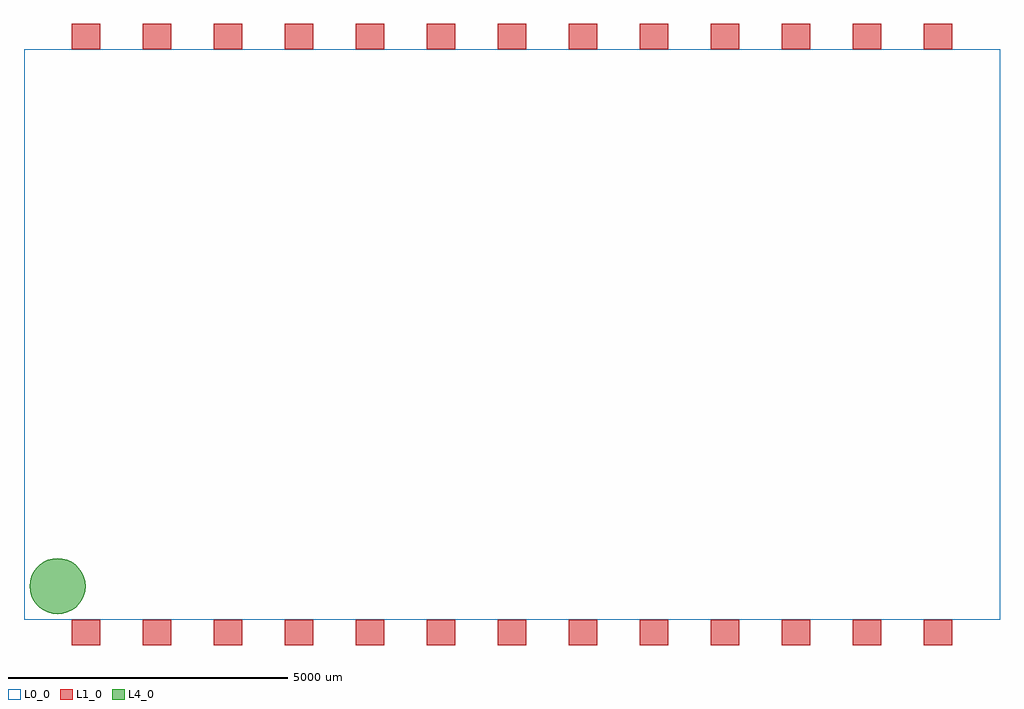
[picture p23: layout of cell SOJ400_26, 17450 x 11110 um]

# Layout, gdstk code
import gdstk
lib = gdstk.Library(unit=1e-6, precision=1e-09)
def R(c, l, rs):  # rectangles x0, y0, x1, y1
    for r in rs: c.add(gdstk.rectangle(r[:2], r[2:], *l))
def A(c, l, x, y, w, h, nx, ny, dx, dy):  # array of equal rectangles
    R(c, l, [(x+i*dx, y+j*dy, x+i*dx+w, y+j*dy+h) for i in range(nx) for j in range(ny)])
def P(c, l, *ps):  # polygons
    for p in ps: c.add(gdstk.Polygon(p, *l))
L0_0 = (0, 0)
L1_0 = (1, 0)
L4_0 = (4, 0)
L99_1 = (99, 1)
L99_2 = (99, 2)
L99_3 = (99, 3)
L99_4 = (99, 4)
L99_5 = (99, 5)
L99_6 = (99, 6)
L99_7 = (99, 7)
L99_8 = (99, 8)
L99_9 = (99, 9)
L99_10 = (99, 10)
L99_11 = (99, 11)
L99_12 = (99, 12)
L99_13 = (99, 13)
L99_14 = (99, 14)
L99_15 = (99, 15)
L99_16 = (99, 16)
L99_17 = (99, 17)
L99_18 = (99, 18)
L99_19 = (99, 19)
L99_20 = (99, 20)
L99_21 = (99, 21)
L99_22 = (99, 22)
L99_23 = (99, 23)
L99_24 = (99, 24)
L99_25 = (99, 25)
L99_26 = (99, 26)

soj400_26 = lib.new_cell('SOJ400_26')
R(soj400_26, L0_0, [(0,0,17450,10200)])
A(soj400_26, L1_0, 850, -455, 510, 455, 13, 2, 1270, 10655)
P(soj400_26, L4_0, [(1100,600),(1092.404,513.176),(1069.846,428.99),(1033.013,350),(983.022,278.606),(921.394,216.978),(850,166.987),(771.01,130.154),(686.824,107.596),(600,100),(513.176,107.596),(428.99,130.154),(350,166.987),(278.606,216.978),(216.978,278.606),(166.987,350),(130.154,428.99),(107.596,513.176),(100,600),(107.596,686.824),(130.154,771.01),(166.987,850),(216.978,921.394),(278.606,983.022),(350,1033.013),(428.99,1069.846),(513.176,1092.404),(600,1100),(686.824,1092.404),(771.01,1069.846),(850,1033.013),(921.394,983.022),(983.022,921.394),(1033.013,850),(1069.846,771.01),(1092.404,686.824)])
soj400_26.add(gdstk.FlexPath([(1360,0),(850,0)], 0, ends="round", simple_path=True, layer=99, datatype=1))  # L99_1
soj400_26.add(gdstk.FlexPath([(2630,0),(2120,0)], 0, ends="round", simple_path=True, layer=99, datatype=2))  # L99_2
soj400_26.add(gdstk.FlexPath([(3900,0),(3390,0)], 0, ends="round", simple_path=True, layer=99, datatype=3))  # L99_3
soj400_26.add(gdstk.FlexPath([(5170,0),(4660,0)], 0, ends="round", simple_path=True, layer=99, datatype=4))  # L99_4
soj400_26.add(gdstk.FlexPath([(6440,0),(5930,0)], 0, ends="round", simple_path=True, layer=99, datatype=5))  # L99_5
soj400_26.add(gdstk.FlexPath([(7710,0),(7200,0)], 0, ends="round", simple_path=True, layer=99, datatype=6))  # L99_6
soj400_26.add(gdstk.FlexPath([(8980,0),(8470,0)], 0, ends="round", simple_path=True, layer=99, datatype=7))  # L99_7
soj400_26.add(gdstk.FlexPath([(10250,0),(9740,0)], 0, ends="round", simple_path=True, layer=99, datatype=8))  # L99_8
soj400_26.add(gdstk.FlexPath([(11520,0),(11010,0)], 0, ends="round", simple_path=True, layer=99, datatype=9))  # L99_9
soj400_26.add(gdstk.FlexPath([(12790,0),(12280,0)], 0, ends="round", simple_path=True, layer=99, datatype=10))  # L99_10
soj400_26.add(gdstk.FlexPath([(14060,0),(13550,0)], 0, ends="round", simple_path=True, layer=99, datatype=11))  # L99_11
soj400_26.add(gdstk.FlexPath([(15330,0),(14820,0)], 0, ends="round", simple_path=True, layer=99, datatype=12))  # L99_12
soj400_26.add(gdstk.FlexPath([(16600,0),(16090,0)], 0, ends="round", simple_path=True, layer=99, datatype=13))  # L99_13
soj400_26.add(gdstk.FlexPath([(850,10200),(1360,10200)], 0, ends="round", simple_path=True, layer=99, datatype=26))  # L99_26
soj400_26.add(gdstk.FlexPath([(2120,10200),(2630,10200)], 0, ends="round", simple_path=True, layer=99, datatype=25))  # L99_25
soj400_26.add(gdstk.FlexPath([(3390,10200),(3900,10200)], 0, ends="round", simple_path=True, layer=99, datatype=24))  # L99_24
soj400_26.add(gdstk.FlexPath([(4660,10200),(5170,10200)], 0, ends="round", simple_path=True, layer=99, datatype=23))  # L99_23
soj400_26.add(gdstk.FlexPath([(5930,10200),(6440,10200)], 0, ends="round", simple_path=True, layer=99, datatype=22))  # L99_22
soj400_26.add(gdstk.FlexPath([(7200,10200),(7710,10200)], 0, ends="round", simple_path=True, layer=99, datatype=21))  # L99_21
soj400_26.add(gdstk.FlexPath([(8470,10200),(8980,10200)], 0, ends="round", simple_path=True, layer=99, datatype=20))  # L99_20
soj400_26.add(gdstk.FlexPath([(9740,10200),(10250,10200)], 0, ends="round", simple_path=True, layer=99, datatype=19))  # L99_19
soj400_26.add(gdstk.FlexPath([(11010,10200),(11520,10200)], 0, ends="round", simple_path=True, layer=99, datatype=18))  # L99_18
soj400_26.add(gdstk.FlexPath([(12280,10200),(12790,10200)], 0, ends="round", simple_path=True, layer=99, datatype=17))  # L99_17
soj400_26.add(gdstk.FlexPath([(13550,10200),(14060,10200)], 0, ends="round", simple_path=True, layer=99, datatype=16))  # L99_16
soj400_26.add(gdstk.FlexPath([(14820,10200),(15330,10200)], 0, ends="round", simple_path=True, layer=99, datatype=15))  # L99_15
soj400_26.add(gdstk.FlexPath([(16090,10200),(16600,10200)], 0, ends="round", simple_path=True, layer=99, datatype=14))  # L99_14

lib.write_gds('SOJ400_26.gds')
